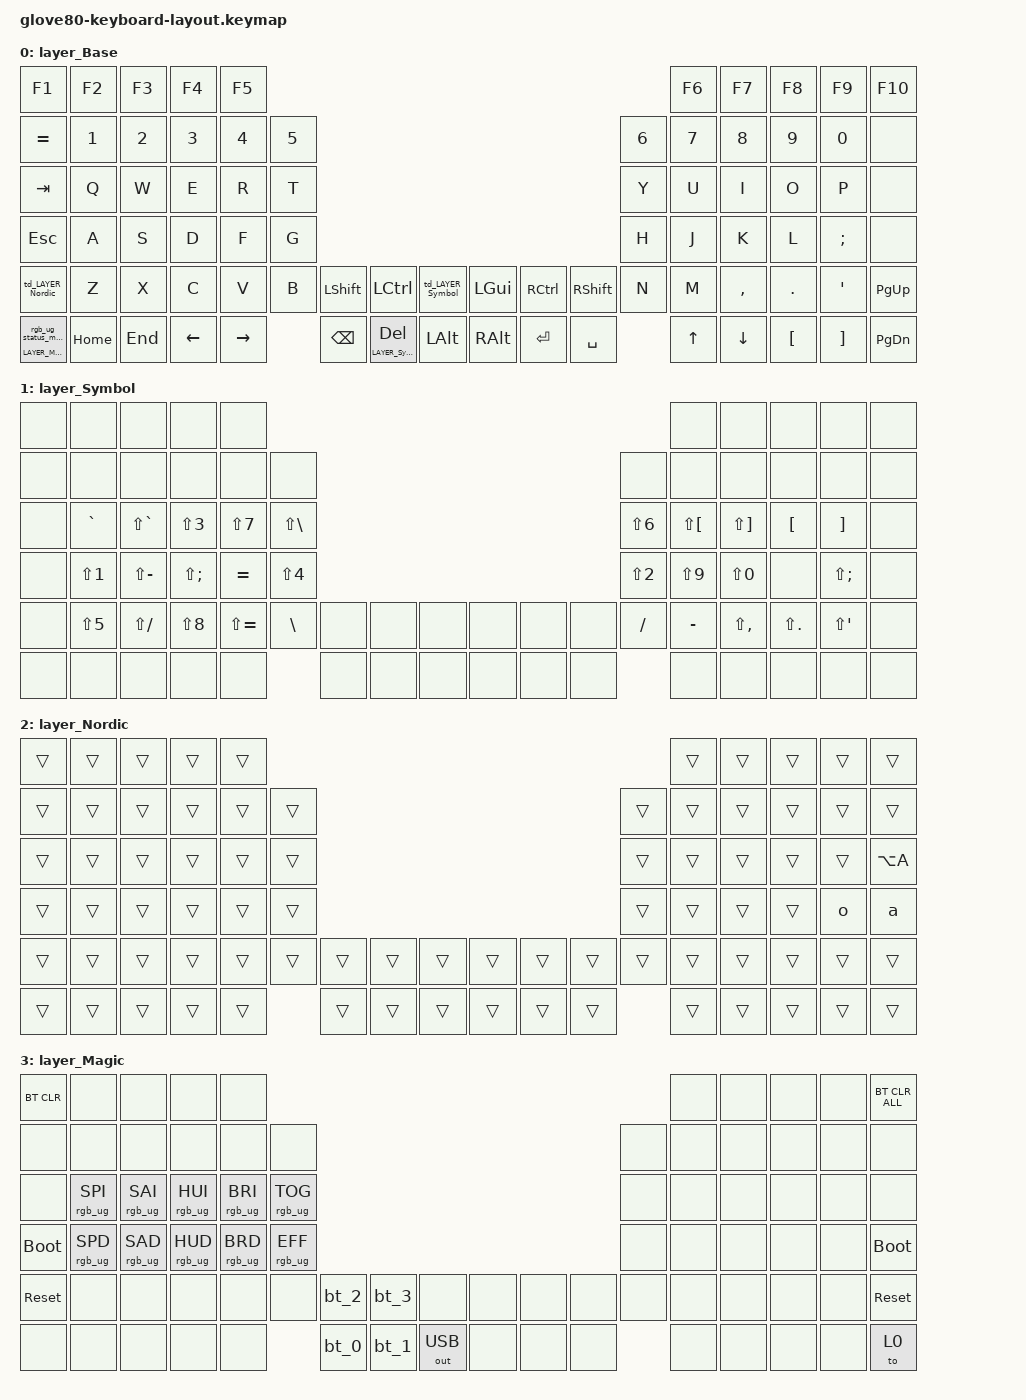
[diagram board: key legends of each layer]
/*
 * Copyright (c) 2020 The ZMK Contributors
 * Copyright (c) 2025 Innaworks Development Limited, trading as MoErgo
 *
 * SPDX-License-Identifier: MIT
 */


/* THIS FILE WAS GENERATED BY GLOVE80 LAYOUT EDITOR
 *
 * This file was generated automatically. You may or may not want to
 * edit it directly.
 */

#include <behaviors.dtsi>
/* Include all behavior includes needed */
#include <dt-bindings/zmk/outputs.h>
#include <dt-bindings/zmk/keys.h>
#include <dt-bindings/zmk/bt.h>
#include <dt-bindings/zmk/rgb.h>

/* On demand includes */


/* Helper Macros, based on https://github.com/urob/zmk-helpers/ */

#pragma once

#define ZMK_HELPER_STRINGIFY(x) #x

// Preprocessor mechanism to overload macros, cf. https://stackoverflow.com/a/27051616/6114651
#define VARGS_(_10, _9, _8, _7, _6, _5, _4, _3, _2, _1, N, ...) N
#define VARGS(...) VARGS_(__VA_ARGS__, 10, 9, 8, 7, 6, 5, 4, 3, 2, 1, 0)
#define CONCAT_(a, b) a##b
#define CONCAT(a, b) CONCAT_(a, b)

#define ZMK_BEHAVIOR_CORE_tap_dance  \
    compatible = "zmk,behavior-tap-dance"; \
    #binding-cells = <0>

#define ZMK_BEHAVIOR(name, type, ...) \
    name: name { \
        ZMK_BEHAVIOR_CORE_ ## type; \
        __VA_ARGS__ \
    };

#define ZMK_TAP_DANCE(name, ...) \
    ZMK_BEHAVIOR(name, tap_dance, __VA_ARGS__)

#define ZMK_TD_LAYER(name, layer) \
    ZMK_TAP_DANCE(name, \
        tapping-term-ms = <200>; \
        bindings = <&mo layer>, <&to layer>; \
)

/* Environment and metadata defines */
#define KB_TYPE_GLOVE_80 1
#define KB_TYPE_GO_60    2

#define KB_TYPE          KB_TYPE_GLOVE_80
#define EDITOR_HOST_OS   'M'

/* Automatically generated layer name defines */
#define LAYER_Base 0
#define LAYER_Symbol 1
#define LAYER_Nordic 2
#define LAYER_Magic 3

/* To deal with the situation where there is no Lower layer, to keep &lower happy */
#ifndef LAYER_Lower
#define LAYER_Lower 0
#endif

/* Custom Device-tree */


/* Input Listeners */


/* System behavior and Macros */
/ {
    behaviors {
        ZMK_TD_LAYER(lower, LAYER_Lower)
    };
};

/ {
    macros {
        rgb_ug_status_macro: rgb_ug_status_macro {
            label = "RGB_UG_STATUS";
            compatible = "zmk,behavior-macro";
            #binding-cells = <0>;
            bindings
                = <&rgb_ug RGB_STATUS>;
        };
    };
};


/ {
#ifdef BT_DISC_CMD
    behaviors {
        bt_0: bt_0 {
            compatible = "zmk,behavior-tap-dance";
            label = "BT_0";
            #binding-cells = <0>;
            tapping-term-ms = <200>;
            bindings = <&bt_select_0>, <&bt BT_DISC 0>;
        };
        bt_1: bt_1 {
            compatible = "zmk,behavior-tap-dance";
            label = "BT_1";
            #binding-cells = <0>;
            tapping-term-ms = <200>;
            bindings = <&bt_select_1>, <&bt BT_DISC 1>;
        };
        bt_2: bt_2 {
            compatible = "zmk,behavior-tap-dance";
            label = "BT_2";
            #binding-cells = <0>;
            tapping-term-ms = <200>;
            bindings = <&bt_select_2>, <&bt BT_DISC 2>;
        };
        bt_3: bt_3 {
            compatible = "zmk,behavior-tap-dance";
            label = "BT_3";
            #binding-cells = <0>;
            tapping-term-ms = <200>;
            bindings = <&bt_select_3>, <&bt BT_DISC 3>;
        };
    };
    macros {
        bt_select_0: bt_select_0 {
            label = "BT_SELECT_0";
            compatible = "zmk,behavior-macro";
            #binding-cells = <0>;
            bindings
                = <&out OUT_BLE>,
                  <&bt BT_SEL 0>;
        };
        bt_select_1: bt_select_1 {
            label = "BT_SELECT_1";
            compatible = "zmk,behavior-macro";
            #binding-cells = <0>;
            bindings
                = <&out OUT_BLE>,
                  <&bt BT_SEL 1>;
        };
        bt_select_2: bt_select_2 {
            label = "BT_SELECT_2";
            compatible = "zmk,behavior-macro";
            #binding-cells = <0>;
            bindings
                = <&out OUT_BLE>,
                  <&bt BT_SEL 2>;
        };
        bt_select_3: bt_select_3 {
            label = "BT_SELECT_3";
            compatible = "zmk,behavior-macro";
            #binding-cells = <0>;
            bindings
                = <&out OUT_BLE>,
                  <&bt BT_SEL 3>;
        };
    };
#else
    macros {
        bt_0: bt_0 {
            label = "BT_0";
            compatible = "zmk,behavior-macro";
            #binding-cells = <0>;
            bindings
                = <&out OUT_BLE>,
                  <&bt BT_SEL 0>;
        };
        bt_1: bt_1 {
            label = "BT_1";
            compatible = "zmk,behavior-macro";
            #binding-cells = <0>;
            bindings
                = <&out OUT_BLE>,
                  <&bt BT_SEL 1>;
        };
        bt_2: bt_2 {
            label = "BT_2";
            compatible = "zmk,behavior-macro";
            #binding-cells = <0>;
            bindings
                = <&out OUT_BLE>,
                  <&bt BT_SEL 2>;
        };
        bt_3: bt_3 {
            label = "BT_3";
            compatible = "zmk,behavior-macro";
            #binding-cells = <0>;
            bindings
                = <&out OUT_BLE>,
                  <&bt BT_SEL 3>;
        };
    };
#endif
};

/ {
    behaviors {
        magic: magic {
            compatible = "zmk,behavior-hold-tap";
            label = "MAGIC_HOLD_TAP";
            #binding-cells = <2>;
            flavor = "tap-preferred";
            tapping-term-ms = <200>;
            bindings = <&mo>, <&rgb_ug_status_macro>;
        };
    };
};


/* Key positions */

#define POS_LH_C6R1 0
#define POS_LH_C5R1 1
#define POS_LH_C4R1 2
#define POS_LH_C3R1 3
#define POS_LH_C2R1 4
#define POS_RH_C2R1 5
#define POS_RH_C3R1 6
#define POS_RH_C4R1 7
#define POS_RH_C5R1 8
#define POS_RH_C6R1 9
#define POS_LH_C6R2 10
#define POS_LH_C5R2 11
#define POS_LH_C4R2 12
#define POS_LH_C3R2 13
#define POS_LH_C2R2 14
#define POS_LH_C1R2 15
#define POS_RH_C1R2 16
#define POS_RH_C2R2 17
#define POS_RH_C3R2 18
#define POS_RH_C4R2 19
#define POS_RH_C5R2 20
#define POS_RH_C6R2 21
#define POS_LH_C6R3 22
#define POS_LH_C5R3 23
#define POS_LH_C4R3 24
#define POS_LH_C3R3 25
#define POS_LH_C2R3 26
#define POS_LH_C1R3 27
#define POS_RH_C1R3 28
#define POS_RH_C2R3 29
#define POS_RH_C3R3 30
#define POS_RH_C4R3 31
#define POS_RH_C5R3 32
#define POS_RH_C6R3 33
#define POS_LH_C6R4 34
#define POS_LH_C5R4 35
#define POS_LH_C4R4 36
#define POS_LH_C3R4 37
#define POS_LH_C2R4 38
#define POS_LH_C1R4 39
#define POS_RH_C1R4 40
#define POS_RH_C2R4 41
#define POS_RH_C3R4 42
#define POS_RH_C4R4 43
#define POS_RH_C5R4 44
#define POS_RH_C6R4 45
#define POS_LH_C6R5 46
#define POS_LH_C5R5 47
#define POS_LH_C4R5 48
#define POS_LH_C3R5 49
#define POS_LH_C2R5 50
#define POS_LH_C1R5 51
#define POS_LH_T1 52
#define POS_LH_T2 53
#define POS_LH_T3 54
#define POS_RH_T3 55
#define POS_RH_T2 56
#define POS_RH_T1 57
#define POS_RH_C1R5 58
#define POS_RH_C2R5 59
#define POS_RH_C3R5 60
#define POS_RH_C4R5 61
#define POS_RH_C5R5 62
#define POS_RH_C6R5 63
#define POS_LH_C6R6 64
#define POS_LH_C5R6 65
#define POS_LH_C4R6 66
#define POS_LH_C3R6 67
#define POS_LH_C2R6 68
#define POS_LH_T4 69
#define POS_LH_T5 70
#define POS_LH_T6 71
#define POS_RH_T6 72
#define POS_RH_T5 73
#define POS_RH_T4 74
#define POS_RH_C2R6 75
#define POS_RH_C3R6 76
#define POS_RH_C4R6 77
#define POS_RH_C5R6 78
#define POS_RH_C6R6 79


/* Custom Defined Behaviors */
/ {

};

/* Generated input processors */


/* Automatically generated macro definitions */
/ {
    macros {

        a: a {
            label = "&A";
            compatible = "zmk,behavior-macro";
            #binding-cells = <0>;
            bindings = <&kp LA(U)>
                , <&kp A>;
        };

        o: o {
            label = "&O";
            compatible = "zmk,behavior-macro";
            #binding-cells = <0>;
            bindings = <&kp LA(U)>
                , <&kp O>;
        };
    };
};

/* Automatically generated behavior definitions */
/ {
    behaviors {

        // Layer tap dance behaviors

        ZMK_TD_LAYER(td_LAYER_Symbol, 1)
        ZMK_TD_LAYER(td_LAYER_Nordic, 2)

    };
};

/* Automatically generated combos definitions */


/* Automatically generated keymap */
/ {
    keymap {
        compatible = "zmk,keymap";


        layer_Base {
            bindings = <
               &kp F1    &kp F2   &kp F3    &kp F4     &kp F5                                                                                                     &kp F6     &kp F7    &kp F8    &kp F9    &kp F10
            &kp EQUAL    &kp N1   &kp N2    &kp N3     &kp N4  &kp N5                                                                                     &kp N6  &kp N7     &kp N8    &kp N9    &kp N0      &none
              &kp TAB     &kp Q    &kp W     &kp E      &kp R   &kp T                                                                                      &kp Y   &kp U      &kp I     &kp O     &kp P      &none
              &kp ESC     &kp A    &kp S     &kp D      &kp F   &kp G                                                                                      &kp H   &kp J      &kp K     &kp L  &kp SEMI      &none
     &td_LAYER_Nordic     &kp Z    &kp X     &kp C      &kp V   &kp B  &kp LSHFT             &kp LCTRL  &td_LAYER_Symbol  &kp LGUI  &kp RCTRL  &kp RSHFT   &kp N   &kp M  &kp COMMA   &kp DOT   &kp SQT  &kp PG_UP
 &magic LAYER_Magic 0  &kp HOME  &kp END  &kp LEFT  &kp RIGHT           &kp BSPC  &lt LAYER_Symbol DEL          &kp LALT  &kp RALT    &kp RET  &kp SPACE          &kp UP   &kp DOWN  &kp LBKT  &kp RBKT  &kp PG_DN
            >;
        };

        layer_Symbol {
            bindings = <
  &none       &none          &none         &none          &none                                                                                   &none          &none        &none         &none   &none
  &none       &none          &none         &none          &none         &none                                                       &none         &none          &none        &none         &none   &none
  &none   &kp GRAVE  &kp LS(GRAVE)    &kp LS(N3)     &kp LS(N7)  &kp LS(BSLH)                                                  &kp LS(N6)  &kp LS(LBKT)   &kp LS(RBKT)     &kp LBKT      &kp RBKT   &none
  &none  &kp LS(N1)  &kp LS(MINUS)  &kp LS(SEMI)      &kp EQUAL    &kp LS(N4)                                                  &kp LS(N2)    &kp LS(N9)     &kp LS(N0)        &none  &kp LS(SEMI)   &none
  &none  &kp LS(N5)   &kp LS(FSLH)    &kp LS(N8)  &kp LS(EQUAL)      &kp BSLH   &none   &none   &none   &none   &none   &none    &kp FSLH     &kp MINUS  &kp LS(COMMA)  &kp LS(DOT)   &kp LS(SQT)   &none
  &none       &none          &none         &none          &none                 &none   &none   &none   &none   &none   &none                     &none          &none        &none         &none   &none
            >;
        };

        layer_Nordic {
            bindings = <
 &trans  &trans  &trans  &trans  &trans                                                                  &trans  &trans  &trans  &trans     &trans
 &trans  &trans  &trans  &trans  &trans  &trans                                                  &trans  &trans  &trans  &trans  &trans     &trans
 &trans  &trans  &trans  &trans  &trans  &trans                                                  &trans  &trans  &trans  &trans  &trans  &kp LA(A)
 &trans  &trans  &trans  &trans  &trans  &trans                                                  &trans  &trans  &trans  &trans      &o         &a
 &trans  &trans  &trans  &trans  &trans  &trans  &trans  &trans  &trans  &trans  &trans  &trans  &trans  &trans  &trans  &trans  &trans     &trans
 &trans  &trans  &trans  &trans  &trans          &trans  &trans  &trans  &trans  &trans  &trans          &trans  &trans  &trans  &trans     &trans
            >;
        };

        layer_Magic {
            bindings = <
  &bt BT_CLR            &none            &none            &none            &none                                                                                  &none   &none   &none   &none  &bt BT_CLR_ALL
       &none            &none            &none            &none            &none            &none                                                         &none   &none   &none   &none   &none           &none
       &none  &rgb_ug RGB_SPI  &rgb_ug RGB_SAI  &rgb_ug RGB_HUI  &rgb_ug RGB_BRI  &rgb_ug RGB_TOG                                                         &none   &none   &none   &none   &none           &none
 &bootloader  &rgb_ug RGB_SPD  &rgb_ug RGB_SAD  &rgb_ug RGB_HUD  &rgb_ug RGB_BRD  &rgb_ug RGB_EFF                                                         &none   &none   &none   &none   &none     &bootloader
  &sys_reset            &none            &none            &none            &none            &none   &bt_2   &bt_3         &none   &none   &none   &none   &none   &none   &none   &none   &none      &sys_reset
       &none            &none            &none            &none            &none                    &bt_0   &bt_1  &out OUT_USB   &none   &none   &none           &none   &none   &none   &none           &to 0
            >;
        };

    };
};
